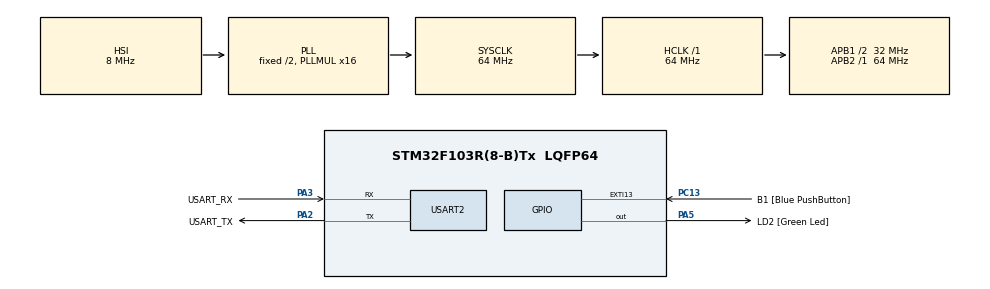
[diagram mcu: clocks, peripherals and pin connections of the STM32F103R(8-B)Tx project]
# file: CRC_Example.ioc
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Mcu.Family=STM32F1
Mcu.Name=STM32F103R(8-B)Tx
Mcu.Package=LQFP64
NVIC.EXTI15_10_IRQn=true\:0\:0\:false\:false\:true\:true\:true\:true
NVIC.PriorityGroup=NVIC_PRIORITYGROUP_4
PA13.GPIO_Label=TMS
PA13.Mode=Serial_Wire
PA13.Signal=SYS_JTMS-SWDIO
PA14.GPIO_Label=TCK
PA14.Mode=Serial_Wire
PA14.Signal=SYS_JTCK-SWCLK
PA2.GPIO_Label=USART_TX
PA2.GPIO_Mode=GPIO_MODE_AF_PP
PA2.GPIO_PuPd=GPIO_NOPULL
PA2.GPIO_Speed=GPIO_SPEED_FREQ_LOW
PA2.Mode=Asynchronous
PA2.Signal=USART2_TX
PA3.GPIO_Label=USART_RX
PA3.GPIO_Mode=GPIO_MODE_AF_PP
PA3.GPIO_PuPd=GPIO_NOPULL
PA3.GPIO_Speed=GPIO_SPEED_FREQ_LOW
PA3.Mode=Asynchronous
PA3.Signal=USART2_RX
PA5.GPIO_Label=LD2 [Green Led]
PA5.GPIO_ModeDefaultOutputPP=GPIO_MODE_OUTPUT_PP
PA5.GPIO_PuPd=GPIO_NOPULL
PA5.GPIO_Speed=GPIO_SPEED_FREQ_LOW
PA5.Signal=GPIO_Output
PB3.GPIO_Label=SWO
PB3.Signal=SYS_JTDO-TRACESWO
PC13-TAMPER-RTC.GPIO_Label=B1 [Blue PushButton]
PC13-TAMPER-RTC.GPIO_PuPd=GPIO_NOPULL
PC13-TAMPER-RTC.Signal=GPXTI13
PC14-OSC32_IN.Mode=LSE-External-Oscillator
PC14-OSC32_IN.Signal=RCC_OSC32_IN
PC15-OSC32_OUT.Mode=LSE-External-Oscillator
PC15-OSC32_OUT.Signal=RCC_OSC32_OUT
PD0-OSC_IN.Mode=HSE-External-Clock-Source
PD0-OSC_IN.Signal=RCC_OSC_IN
PD1-OSC_OUT.Mode=HSE-External-Clock-Source
PD1-OSC_OUT.Signal=RCC_OSC_OUT
ProjectManager.HeapSize=0x200
ProjectManager.StackSize=0x400
ProjectManager.TargetToolchain=STM32CubeIDE
RCC.AHBFreq_Value=64000000
RCC.APB1CLKDivider=RCC_HCLK_DIV2
RCC.APB1Freq_Value=32000000
RCC.APB1TimFreq_Value=64000000
RCC.APB2Freq_Value=64000000
RCC.APB2TimFreq_Value=64000000
RCC.HCLKFreq_Value=64000000
RCC.PLLMUL=RCC_PLL_MUL16
RCC.RTCClockSelection=RCC_RTCCLKSOURCE_LSE
RCC.SYSCLKFreq_VALUE=64000000
RCC.SYSCLKSource=RCC_SYSCLKSOURCE_PLLCLK
RCC.USBFreq_Value=64000000
USART2.VirtualMode=VM_ASYNC
VP_CRC_VS_CRC.Mode=CRC_Activate
board=NUCLEO-F103RB

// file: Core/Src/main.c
/* USER CODE BEGIN Header */
/**
  ******************************************************************************
  * @file           : main.c
  * @brief          : Main program body
  ******************************************************************************
  * @attention
  *
  * Copyright (c) 2022 STMicroelectronics.
  * All rights reserved.
  *
  * This software is licensed under terms that can be found in the LICENSE file
  * in the root directory of this software component.
  * If no LICENSE file comes with this software, it is provided AS-IS.
  *
  ******************************************************************************
  */
/* USER CODE END Header */
#include "main.h"

/* USER CODE BEGIN Includes */
#include <stdio.h>
/* USER CODE END Includes */

/* USER CODE BEGIN PD */
#define BUFFER_SIZE    114
/* USER CODE END PD */

CRC_HandleTypeDef hcrc;

UART_HandleTypeDef huart2;

/* USER CODE BEGIN PV */
__IO uint32_t uwCRCValue = 0;

static const uint32_t aDataBuffer[BUFFER_SIZE] =
{
  0x00001021, 0x20423063, 0x408450a5, 0x60c670e7, 0x9129a14a, 0xb16bc18c,
  0xd1ade1ce, 0xf1ef1231, 0x32732252, 0x52b54294, 0x72f762d6, 0x93398318,
  0xa35ad3bd, 0xc39cf3ff, 0xe3de2462, 0x34430420, 0x64e674c7, 0x44a45485,
  0xa56ab54b, 0x85289509, 0xf5cfc5ac, 0xd58d3653, 0x26721611, 0x063076d7,
  0x569546b4, 0xb75ba77a, 0x97198738, 0xf7dfe7fe, 0xc7bc48c4, 0x58e56886,
  0x78a70840, 0x18612802, 0xc9ccd9ed, 0xe98ef9af, 0x89489969, 0xa90ab92b,
  0x4ad47ab7, 0x6a961a71, 0x0a503a33, 0x2a12dbfd, 0xfbbfeb9e, 0x9b798b58,
  0xbb3bab1a, 0x6ca67c87, 0x5cc52c22, 0x3c030c60, 0x1c41edae, 0xfd8fcdec,
  0xad2abd0b, 0x8d689d49, 0x7e976eb6, 0x5ed54ef4, 0x2e321e51, 0x0e70ff9f,
  0xefbedfdd, 0xcffcbf1b, 0x9f598f78, 0x918881a9, 0xb1caa1eb, 0xd10cc12d,
  0xe16f1080, 0x00a130c2, 0x20e35004, 0x40257046, 0x83b99398, 0xa3fbb3da,
  0xc33dd31c, 0xe37ff35e, 0x129022f3, 0x32d24235, 0x52146277, 0x7256b5ea,
  0x95a88589, 0xf56ee54f, 0xd52cc50d, 0x34e224c3, 0x04817466, 0x64475424,
  0x4405a7db, 0xb7fa8799, 0xe75ff77e, 0xc71dd73c, 0x26d336f2, 0x069116b0,
  0x76764615, 0x5634d94c, 0xc96df90e, 0xe92f99c8, 0xb98aa9ab, 0x58444865,
  0x78066827, 0x18c008e1, 0x28a3cb7d, 0xdb5ceb3f, 0xfb1e8bf9, 0x9bd8abbb,
  0x4a755a54, 0x6a377a16, 0x0af11ad0, 0x2ab33a92, 0xed0fdd6c, 0xcd4dbdaa,
  0xad8b9de8, 0x8dc97c26, 0x5c644c45, 0x3ca22c83, 0x1ce00cc1, 0xef1fff3e,
  0xdf7caf9b, 0xbfba8fd9, 0x9ff86e17, 0x7e364e55, 0x2e933eb2, 0x0ed11ef0
};

/* Expected CRC Value */
uint32_t uwExpectedCRCValue = 0x379E9F06;
/* USER CODE END PV */

void SystemClock_Config(void);
static void MX_GPIO_Init(void);
static void MX_USART2_UART_Init(void);
static void MX_CRC_Init(void);

/* USER CODE BEGIN 0 */
#ifdef __GNUC__
#define PUTCHAR_PROTOTYPE int __io_putchar(int ch)
#else
#define PUTCHAR_PROTOTYPE int fputc(int ch, FILE *f)
#endif /* __GNUC__ */

/**
* @brief  Retargets the C library printf function to the USART.
* @param  None
* @retval None
*/
PUTCHAR_PROTOTYPE
{
  /* Place your implementation of fputc here */
  /* e.g. write a character to the UART2 and Loop until the end of transmission */
  if (ch == '\n')
    HAL_UART_Transmit (&huart2, (uint8_t *) "\r", 1, 0xFFFF);

  HAL_UART_Transmit (&huart2, (uint8_t *) & ch, 1, 0xFFFF);

  return ch;
}
/* USER CODE END 0 */

int main(void)
{

  /* MCU Configuration--------------------------------------------------------*/

  /* Reset of all peripherals, Initializes the Flash interface and the Systick. */
  HAL_Init();

  /* Configure the system clock */
  SystemClock_Config();

  /* Initialize all configured peripherals */
  MX_GPIO_Init();
  MX_USART2_UART_Init();
  MX_CRC_Init();
  /* USER CODE BEGIN 2 */
  /*##-1- Configure the CRC peripheral #######################################*/
  hcrc.Instance = CRC;

  if (HAL_CRC_Init(&hcrc) != HAL_OK)
  {
    /* Initialization Error */
    Error_Handler();
  }

  /*##-2- Compute the CRC of "aDataBuffer" ###################################*/
  uwCRCValue = HAL_CRC_Accumulate(&hcrc, (uint32_t *)aDataBuffer, BUFFER_SIZE);
  printf("CRC=%08X\n", uwCRCValue);
  /*##-3- Compare the CRC value to the Expected one ##########################*/
  if (uwCRCValue != uwExpectedCRCValue)
  {
    /* Wrong CRC value: enter Error_Handler */
    Error_Handler();
  }
  else
  {
    /* Right CRC value: Turn LED2 on */
    HAL_GPIO_WritePin(LD2_GPIO_Port, LD2_Pin, GPIO_PIN_SET);
  }
  /* USER CODE END 2 */

  /* Infinite loop */
  while (1)
  {

  }
}

void SystemClock_Config(void)
{
  RCC_OscInitTypeDef RCC_OscInitStruct = {0};
  RCC_ClkInitTypeDef RCC_ClkInitStruct = {0};

  /** Initializes the RCC Oscillators according to the specified parameters
  * in the RCC_OscInitTypeDef structure.
  */
  RCC_OscInitStruct.OscillatorType = RCC_OSCILLATORTYPE_HSI;
  RCC_OscInitStruct.HSIState = RCC_HSI_ON;
  RCC_OscInitStruct.HSICalibrationValue = RCC_HSICALIBRATION_DEFAULT;
  RCC_OscInitStruct.PLL.PLLState = RCC_PLL_ON;
  RCC_OscInitStruct.PLL.PLLSource = RCC_PLLSOURCE_HSI_DIV2;
  RCC_OscInitStruct.PLL.PLLMUL = RCC_PLL_MUL16;
  if (HAL_RCC_OscConfig(&RCC_OscInitStruct) != HAL_OK)
  {
    Error_Handler();
  }

  /** Initializes the CPU, AHB and APB buses clocks
  */
  RCC_ClkInitStruct.ClockType = RCC_CLOCKTYPE_HCLK|RCC_CLOCKTYPE_SYSCLK
                              |RCC_CLOCKTYPE_PCLK1|RCC_CLOCKTYPE_PCLK2;
  RCC_ClkInitStruct.SYSCLKSource = RCC_SYSCLKSOURCE_PLLCLK;
  RCC_ClkInitStruct.AHBCLKDivider = RCC_SYSCLK_DIV1;
  RCC_ClkInitStruct.APB1CLKDivider = RCC_HCLK_DIV2;
  RCC_ClkInitStruct.APB2CLKDivider = RCC_HCLK_DIV1;

  if (HAL_RCC_ClockConfig(&RCC_ClkInitStruct, FLASH_LATENCY_2) != HAL_OK)
  {
    Error_Handler();
  }
}

static void MX_CRC_Init(void)
{

  hcrc.Instance = CRC;
  if (HAL_CRC_Init(&hcrc) != HAL_OK)
  {
    Error_Handler();
  }

}

static void MX_USART2_UART_Init(void)
{

  huart2.Instance = USART2;
  huart2.Init.BaudRate = 115200;
  huart2.Init.WordLength = UART_WORDLENGTH_8B;
  huart2.Init.StopBits = UART_STOPBITS_1;
  huart2.Init.Parity = UART_PARITY_NONE;
  huart2.Init.Mode = UART_MODE_TX_RX;
  huart2.Init.HwFlowCtl = UART_HWCONTROL_NONE;
  huart2.Init.OverSampling = UART_OVERSAMPLING_16;
  if (HAL_UART_Init(&huart2) != HAL_OK)
  {
    Error_Handler();
  }

}

static void MX_GPIO_Init(void)
{
  GPIO_InitTypeDef GPIO_InitStruct = {0};

  /* GPIO Ports Clock Enable */
  __HAL_RCC_GPIOC_CLK_ENABLE();
  __HAL_RCC_GPIOD_CLK_ENABLE();
  __HAL_RCC_GPIOA_CLK_ENABLE();
  __HAL_RCC_GPIOB_CLK_ENABLE();

  /*Configure GPIO pin Output Level */
  HAL_GPIO_WritePin(LD2_GPIO_Port, LD2_Pin, GPIO_PIN_RESET);

  /*Configure GPIO pin : B1_Pin */
  GPIO_InitStruct.Pin = B1_Pin;
  GPIO_InitStruct.Mode = GPIO_MODE_IT_RISING;
  GPIO_InitStruct.Pull = GPIO_NOPULL;
  HAL_GPIO_Init(B1_GPIO_Port, &GPIO_InitStruct);

  /*Configure GPIO pin : LD2_Pin */
  GPIO_InitStruct.Pin = LD2_Pin;
  GPIO_InitStruct.Mode = GPIO_MODE_OUTPUT_PP;
  GPIO_InitStruct.Pull = GPIO_NOPULL;
  GPIO_InitStruct.Speed = GPIO_SPEED_FREQ_LOW;
  HAL_GPIO_Init(LD2_GPIO_Port, &GPIO_InitStruct);

  /* EXTI interrupt init*/
  HAL_NVIC_SetPriority(EXTI15_10_IRQn, 0, 0);
  HAL_NVIC_EnableIRQ(EXTI15_10_IRQn);

}

void Error_Handler(void)
{
  __disable_irq();
  while (1)
  {
  }
}
